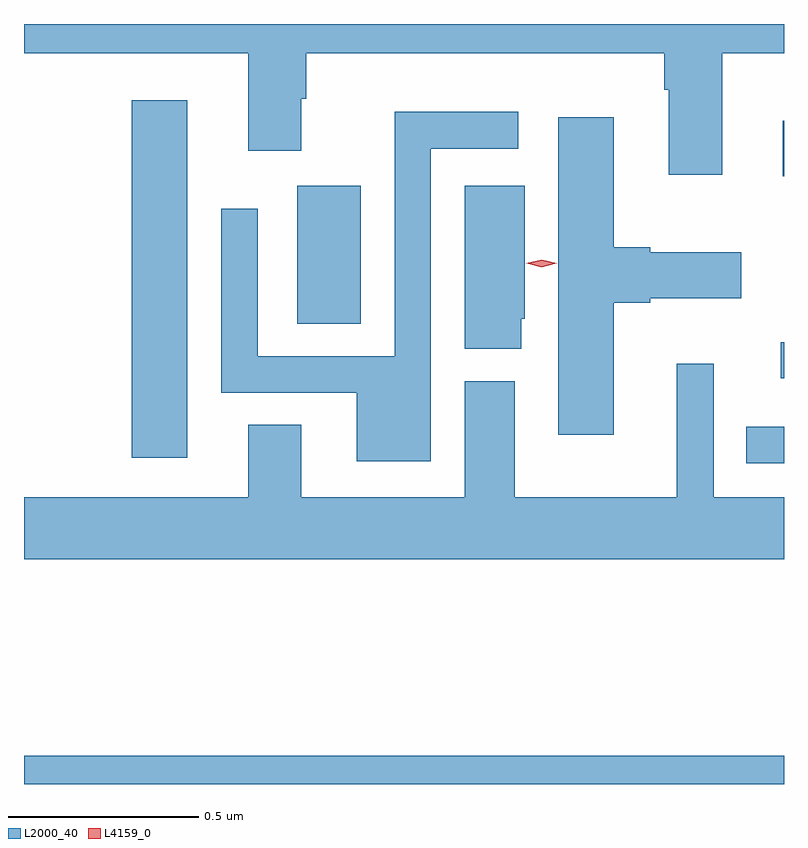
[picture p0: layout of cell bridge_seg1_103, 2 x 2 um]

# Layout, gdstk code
import gdstk
lib = gdstk.Library(unit=1e-6, precision=1e-09)
def R(c, l, rs):  # rectangles x0, y0, x1, y1
    for r in rs: c.add(gdstk.rectangle(r[:2], r[2:], *l))
def P(c, l, *ps):  # polygons
    for p in ps: c.add(gdstk.Polygon(p, *l))
L2000_40 = (2000, 40)
L4159_0 = (4159, 0)

bridge_seg1_103 = lib.new_cell('bridge_seg1_103')
R(bridge_seg1_103, L2000_40, [(267.186,503.189,269.186,503.264), (269.086,504.033,269.186,504.129), (267.47,504.048,267.616,504.988), (269.177,504.257,269.186,504.351), (267.905,504.4,268.072,504.763), (269.183,504.789,269.186,504.934)])
P(bridge_seg1_103, L2000_40, [(269.023,505.112),(269.186,505.112),(269.186,505.189),(267.186,505.189),(267.186,505.112),(267.776,505.112),(267.776,504.855),(267.916,504.855),(267.916,504.992),(267.929,504.992),(267.929,505.112),(268.871,505.112),(268.871,505.016),(268.883,505.016),(268.883,504.792),(269.023,504.792)],
  [(268.257,504.861),(268.486,504.861),(268.486,504.958),(268.161,504.958),(268.161,504.315),(267.801,504.315),(267.801,504.703),(267.705,504.703),(267.705,504.219),(268.061,504.219),(268.061,504.038),(268.257,504.038)],
  [(268.738,504.455),(268.834,504.455),(268.834,504.467),(269.074,504.467),(269.074,504.589),(268.834,504.589),(268.834,504.602),(268.738,504.602),(268.738,504.943),(268.592,504.943),(268.592,504.108),(268.738,504.108)],
  [(268.495,504.414),(268.504,504.414),(268.504,504.763),(268.346,504.763),(268.346,504.334),(268.495,504.334)],
  [(269.186,503.944),(269.001,503.944),(269.001,504.295),(268.904,504.295),(268.904,503.944),(268.477,503.944),(268.477,504.249),(268.346,504.249),(268.346,503.944),(267.916,503.944),(267.916,504.134),(267.776,504.134),(267.776,503.944),(267.186,503.944),(267.186,503.78),(269.186,503.78)])
P(bridge_seg1_103, L4159_0, [(268.548,504.549),(268.508,504.559),(268.508,504.559),(268.508,504.559),(268.548,504.569),(268.588,504.56),(268.588,504.56),(268.588,504.56)])

lib.write_gds('bridge_seg1_103.gds')
